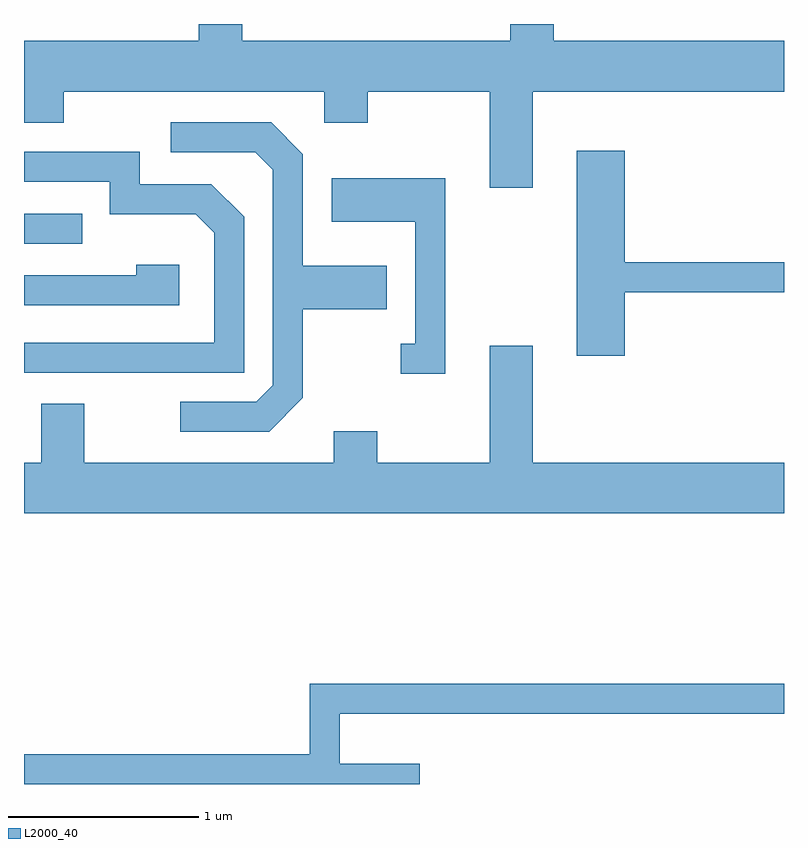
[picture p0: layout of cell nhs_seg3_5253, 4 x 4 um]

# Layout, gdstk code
import gdstk
lib = gdstk.Library(unit=1e-6, precision=1e-09)
def R(c, l, rs):  # rectangles x0, y0, x1, y1
    for r in rs: c.add(gdstk.rectangle(r[:2], r[2:], *l))
def P(c, l, *ps):  # polygons
    for p in ps: c.add(gdstk.Polygon(p, *l))
L2000_40 = (2000, 40)

nhs_seg3_5253 = lib.new_cell('nhs_seg3_5253')
R(nhs_seg3_5253, L2000_40, [(339.611,1160.736,339.918,1160.894)])
P(nhs_seg3_5253, L2000_40, [(342.289,1161.536),(343.611,1161.536),(343.611,1161.804),(342.399,1161.804),(342.399,1161.892),(342.171,1161.892),(342.171,1161.804),(340.759,1161.804),(340.759,1161.892),(340.531,1161.892),(340.531,1161.804),(339.611,1161.804),(339.611,1161.371),(339.819,1161.371),(339.819,1161.536),(341.191,1161.536),(341.191,1161.371),(341.419,1161.371),(341.419,1161.536),(342.061,1161.536),(342.061,1161.031),(342.289,1161.031)],
  [(341.079,1159.924),(341.079,1160.391),(341.519,1160.391),(341.519,1160.619),(341.079,1160.619),(341.079,1161.207),(340.912,1161.374),(340.383,1161.374),(340.383,1161.216),(340.829,1161.216),(340.921,1161.124),(340.921,1159.992),(340.834,1159.904),(340.433,1159.904),(340.433,1159.746),(340.902,1159.746)],
  [(342.774,1160.481),(343.611,1160.481),(343.611,1160.639),(342.774,1160.639),(342.774,1161.224),(342.521,1161.224),(342.521,1160.146),(342.774,1160.146)],
  [(340.769,1160.877),(340.597,1161.049),(340.219,1161.049),(340.219,1161.219),(339.611,1161.219),(339.611,1161.061),(340.061,1161.061),(340.061,1160.891),(340.514,1160.891),(340.611,1160.794),(340.611,1160.214),(339.611,1160.214),(339.611,1160.056),(340.769,1160.056)],
  [(341.829,1161.079),(341.231,1161.079),(341.231,1160.851),(341.671,1160.851),(341.671,1160.209),(341.593,1160.209),(341.593,1160.051),(341.829,1160.051)],
  [(340.429,1160.624),(340.201,1160.624),(340.201,1160.569),(339.611,1160.569),(339.611,1160.411),(340.429,1160.411)],
  [(343.611,1159.584),(342.289,1159.584),(342.289,1160.199),(342.061,1160.199),(342.061,1159.584),(341.469,1159.584),(341.469,1159.749),(341.241,1159.749),(341.241,1159.584),(339.929,1159.584),(339.929,1159.894),(339.701,1159.894),(339.701,1159.584),(339.611,1159.584),(339.611,1159.316),(343.611,1159.316)],
  [(341.694,1157.999),(341.274,1157.999),(341.274,1158.261),(343.611,1158.261),(343.611,1158.419),(341.116,1158.419),(341.116,1158.049),(339.611,1158.049),(339.611,1157.892),(341.694,1157.892)])

lib.write_gds('nhs_seg3_5253.gds')
